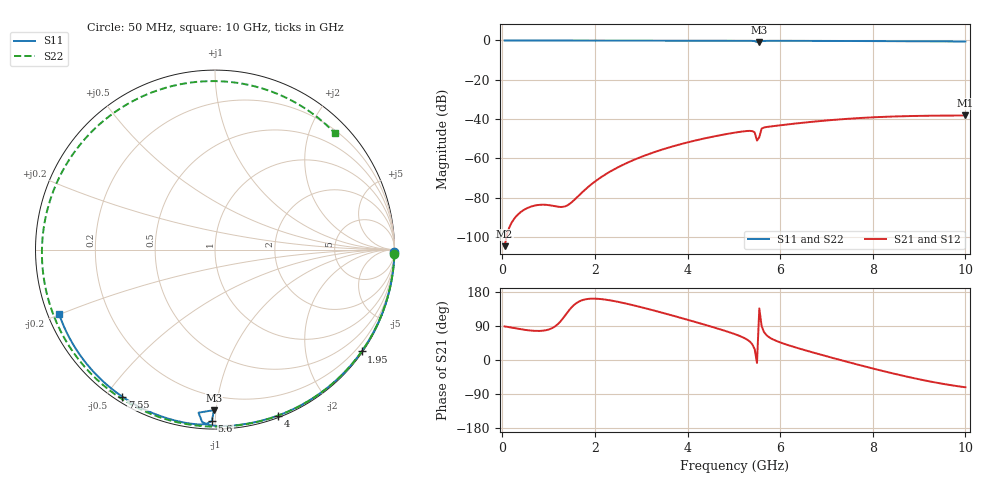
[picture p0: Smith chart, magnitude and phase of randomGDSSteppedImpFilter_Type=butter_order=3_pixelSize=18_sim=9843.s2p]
! freq	dB(S11)	phase(S11)	dB(S12)	phase(S12)
!  dB(S21)	phase(S21)	dB(S22)	phase(S22)
!S-par simulation data
#  GHz  S  DB  R 50
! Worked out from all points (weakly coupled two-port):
!   200 points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, 50 MHz to 10 GHz, reference 50 ohm
!   highest |S21| = -38.17 dB at 10 GHz (marker M1); lowest = -104.7 dB at 50 MHz (marker M2)
!   lowest |S11| = -1.0 dB at 5.55 GHz (marker M3), VSWR 17.94, Z = 5.52 - j49.4 ohm
!   |S11| at or under -10 dB: nowhere
!   |S22| runs from -0.6 to 0.0 dB; largest |S21 - S12| = 0
!   S11 on the Smith chart (normalised r, x): 50 MHz: open; 1.95 GHz: 0.03, -3.19; 4 GHz: 0.02, -1.45; 5.6 GHz: 0.05, -0.98; 7.55 GHz: 0.02, -0.55; 10 GHz: 0.03, -0.20
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0.05  -0.00 -0.9  -104.70 88.7  -104.70 88.7  -0.00 -1.5
0.8  -0.02 -14.4  -83.68 76.7  -83.68 76.7  -0.03 -24.4
1.6  -0.04 -28.7  -80.14 150.1  -80.14 150.1  -0.06 -48.2
1.75  -0.04 -31.3  -76.75 158.7  -76.75 158.7  -0.07 -52.6
1.95  -0.04 -34.8  -72.73 161.9  -72.73 161.9  -0.08 -58.5
2.6  -0.06 -46.0  -63.36 150.9  -63.36 150.9  -0.10 -77.1
3.4  -0.08 -59.4  -55.93 126.5  -55.93 126.5  -0.13 -99.5
4  -0.10 -69.2  -51.89 106.2  -51.89 106.2  -0.16 -116.1
5.05  -0.14 -86.1  -46.80 67.0  -46.80 67.0  -0.22 -145.0
5.4  -0.22 -92.7  -46.15 41.2  -46.15 41.2  -0.25 -154.8
5.45  -0.33 -94.3  -46.81 28.5  -46.81 28.5  -0.25 -156.3
5.5  -0.79 -95.8  -50.94 -7.9  -50.94 -7.9  -0.26 -157.7
5.55  -0.97 -90.4  -49.15 136.1  -49.15 136.1  -0.26 -159.1
5.6  -0.40 -91.0  -44.88 89.3  -44.88 89.3  -0.26 -160.6
6.15  -0.19 -101.6  -42.76 40.1  -42.76 40.1  -0.31 -176.6
6.7  -0.22 -109.9  -41.37 20.1  -41.37 20.1  -0.36 166.5
7.55  -0.28 -122.2  -39.73 -8.2  -39.73 -8.2  -0.44 138.5
8.35  -0.35 -133.6  -38.78 -33.0  -38.78 -33.0  -0.51 109.6
8.75  -0.39 -139.3  -38.50 -44.3  -38.50 -44.3  -0.54 94.2
9.15  -0.43 -145.1  -38.33 -54.6  -38.33 -54.6  -0.57 78.4
9.55  -0.48 -150.9  -38.23 -63.7  -38.23 -63.7  -0.59 62.4
10  -0.54 -157.5  -38.17 -72.0  -38.17 -72.0  -0.62 44.3
